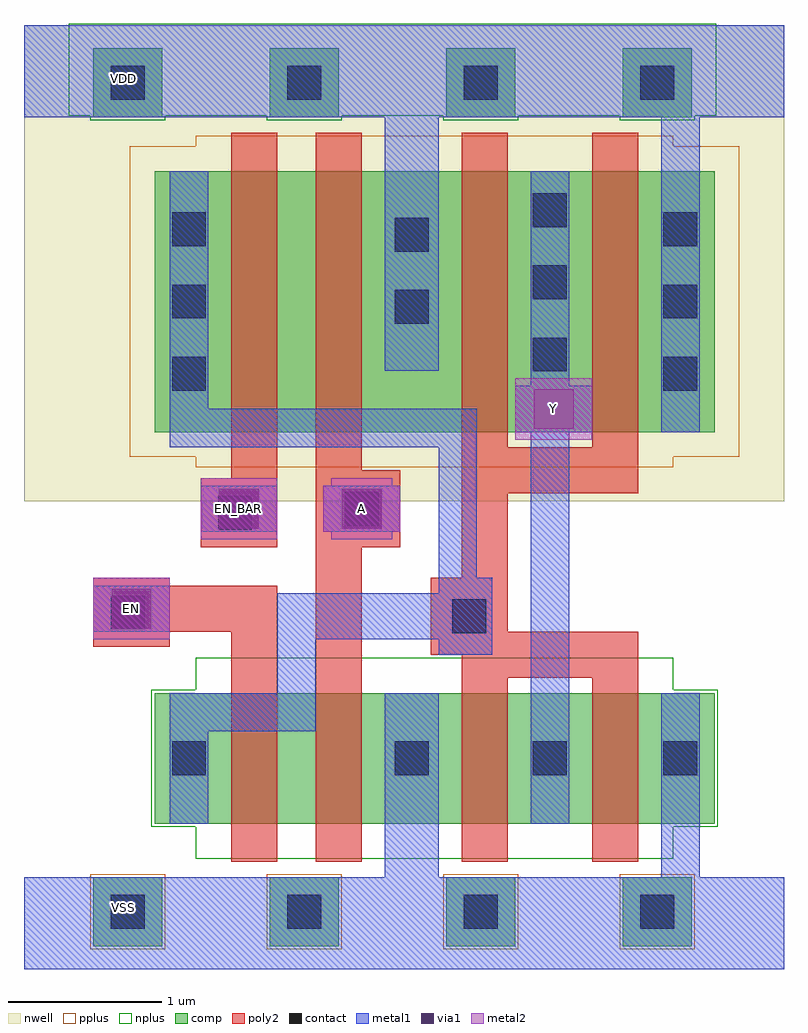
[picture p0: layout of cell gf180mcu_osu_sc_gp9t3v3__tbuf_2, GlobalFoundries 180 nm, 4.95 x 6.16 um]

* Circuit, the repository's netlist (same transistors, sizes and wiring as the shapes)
* Copyright 2022 Google LLC
*
* Licensed under the Apache License, Version 2.0 (the "License");
* you may not use this file except in compliance with the License.
* You may obtain a copy of the License at
*
*      http://www.apache.org/licenses/LICENSE-2.0
*
* Unless required by applicable law or agreed to in writing, software
* distributed under the License is distributed on an "AS IS" BASIS,
* WITHOUT WARRANTIES OR CONDITIONS OF ANY KIND, either express or implied.
* See the License for the specific language governing permissions and
* limitations under the License.

.option scale=0.05u

.subckt gf180mcu_osu_sc_gp9t3v3__tbuf_2 A Y EN EN_BAR
X0 Y a_17_19 VSS VSS nmos_3p3 w=17 l=6
X1 Y a_17_19 VDD VDD pmos_3p3 w=34 l=6
X2 a_33_19 EN a_17_19 VSS nmos_3p3 w=17 l=6
X3 VSS a_17_19 Y VSS nmos_3p3 w=17 l=6
X4 a_33_70 EN_BAR a_17_19 VDD pmos_3p3 w=34 l=6
X5 VDD a_17_19 Y VDD pmos_3p3 w=34 l=6
X6 VSS A a_33_19 VSS nmos_3p3 w=17 l=6
X7 VDD A a_33_70 VDD pmos_3p3 w=34 l=6
.ends

** hspice subcircuit dictionary

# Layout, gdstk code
import gdstk
lib = gdstk.Library(unit=1e-6, precision=1e-09)
def R(c, l, rs):  # rectangles x0, y0, x1, y1
    for r in rs: c.add(gdstk.rectangle(r[:2], r[2:], *l))
def A(c, l, x, y, w, h, nx, ny, dx, dy):  # array of equal rectangles
    R(c, l, [(x+i*dx, y+j*dy, x+i*dx+w, y+j*dy+h) for i in range(nx) for j in range(ny)])
nwell = (21, 0)
comp = (22, 0)
poly2 = (30, 0)
pplus = (31, 0)
nplus = (32, 0)
contact = (33, 0)
metal1 = (34, 0)
via1 = (35, 0)
metal2 = (36, 0)

gf180mcu_osu_sc_gp9t3v3_ = lib.new_cell('gf180mcu_osu_sc_gp9t3v3__tbuf_2')
R(gf180mcu_osu_sc_gp9t3v3_, nwell, [(0,3.05,4.95,6.15)])
A(gf180mcu_osu_sc_gp9t3v3_, comp, 0.45, 0.15, 0.45, 0.45, 4, 2, 1.15, 5.4)
R(gf180mcu_osu_sc_gp9t3v3_, comp, [(0.85,0.95,4.5,1.8), (0.85,3.5,4.5,5.2)])
R(gf180mcu_osu_sc_gp9t3v3_, poly2, [(1.35,0.7,1.65,2.2), (1.9,0.7,2.2,2.75), (2.85,0.7,3.15,1.9), (3.7,0.7,4,1.9), (2.85,1.9,4,2.05), (2.65,2.05,4,2.2), (0.45,2.1,0.95,2.2), (0.45,2.2,1.65,2.5), (2.65,2.2,3.15,2.55), (0.45,2.5,0.95,2.55), (2.85,2.55,3.15,3.1), (1.15,2.75,1.65,3.2), (1.9,2.75,2.45,3.25), (2.85,3.1,4,3.4), (1.35,3.2,1.65,5.45), (1.9,3.25,2.2,5.45), (2.85,3.4,3.15,5.45), (3.7,3.4,4,5.45)])
A(gf180mcu_osu_sc_gp9t3v3_, pplus, 0.43, 0.13, 0.49, 0.49, 4, 1, 1.15, 0)
R(gf180mcu_osu_sc_gp9t3v3_, pplus, [(1.12,3.27,4.23,3.34), (0.69,3.34,4.66,5.36), (1.12,5.36,4.23,5.43)])
A(gf180mcu_osu_sc_gp9t3v3_, nplus, 0.43, 5.53, 0.49, 0.03, 4, 1, 1.15, 0)
R(gf180mcu_osu_sc_gp9t3v3_, nplus, [(1.12,0.72,4.23,0.93), (0.83,0.93,4.52,1.82), (1.12,1.82,4.23,2.03), (0.29,5.56,4.51,6.16)])
A(gf180mcu_osu_sc_gp9t3v3_, contact, 0.565, 0.265, 0.22, 0.22, 4, 2, 1.15, 5.4)
A(gf180mcu_osu_sc_gp9t3v3_, contact, 0.965, 3.77, 0.22, 0.22, 1, 3, 0, 0.47)
A(gf180mcu_osu_sc_gp9t3v3_, contact, 4.165, 3.77, 0.22, 0.22, 1, 3, 0, 0.47)
A(gf180mcu_osu_sc_gp9t3v3_, contact, 3.315, 3.895, 0.22, 0.22, 1, 3, 0, 0.47)
R(gf180mcu_osu_sc_gp9t3v3_, contact, [(0.965,1.265,1.185,1.485), (2.415,1.265,2.635,1.485), (3.315,1.265,3.535,1.485), (4.165,1.265,4.385,1.485), (2.79,2.19,3.01,2.41), (0.565,2.215,0.785,2.435), (1.265,2.865,1.485,3.085), (2.09,2.89,2.31,3.11), (2.415,4.205,2.635,4.425), (2.415,4.675,2.635,4.895)])
R(gf180mcu_osu_sc_gp9t3v3_, metal1, [(0,0,4.95,0.6), (2.35,0.6,2.7,1.8), (4.15,0.6,4.4,1.8), (0.95,0.95,1.2,1.55), (3.3,0.95,3.55,3.5), (0.95,1.55,1.9,1.8), (1.65,1.8,1.9,2.15), (2.7,2.05,3.05,2.15), (1.65,2.15,3.05,2.45), (0.45,2.2,0.95,2.5), (2.7,2.45,3.05,2.55), (2.7,2.55,2.95,3.4), (1.15,2.85,1.65,3.15), (1.95,2.85,2.45,3.15), (0.95,3.4,2.95,3.65), (3.2,3.5,3.7,3.8), (4.15,3.5,4.4,5.55), (0.95,3.65,1.2,5.2), (3.3,3.8,3.55,5.2), (2.35,3.9,2.7,5.55), (0,5.55,4.95,6.15)])
R(gf180mcu_osu_sc_gp9t3v3_, via1, [(0.57,2.22,0.83,2.48), (1.27,2.87,1.53,3.13), (2.07,2.87,2.33,3.13), (3.32,3.52,3.58,3.78)])
R(gf180mcu_osu_sc_gp9t3v3_, metal2, [(0.45,2.15,0.95,2.55), (1.15,2.8,1.65,3.2), (2,2.8,2.4,2.85), (1.95,2.85,2.45,3.15), (2,3.15,2.4,3.2), (3.2,3.45,3.7,3.85)])
gf180mcu_osu_sc_gp9t3v3_.add(gdstk.Label('VDD', (0.65,5.8), layer=34, texttype=0))
gf180mcu_osu_sc_gp9t3v3_.add(gdstk.Label('VSS', (0.65,0.4), layer=34, texttype=0))
gf180mcu_osu_sc_gp9t3v3_.add(gdstk.Label('A', (2.2,3), layer=36, texttype=10))
gf180mcu_osu_sc_gp9t3v3_.add(gdstk.Label('Y', (3.45,3.65), layer=36, texttype=10))
gf180mcu_osu_sc_gp9t3v3_.add(gdstk.Label('EN', (0.7,2.35), layer=36, texttype=10))
gf180mcu_osu_sc_gp9t3v3_.add(gdstk.Label('EN_BAR', (1.4,3), layer=36, texttype=10))

lib.write_gds('gf180mcu_osu_sc_gp9t3v3__tbuf_2.gds')
